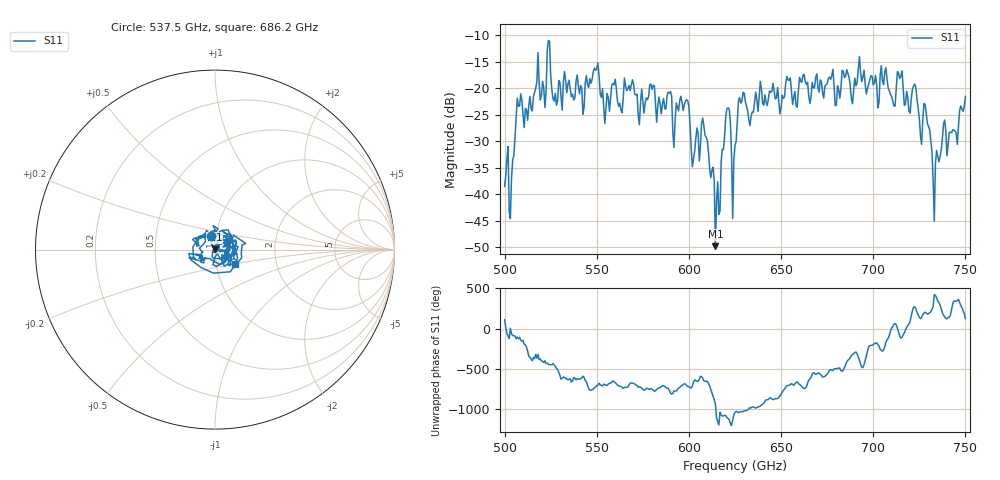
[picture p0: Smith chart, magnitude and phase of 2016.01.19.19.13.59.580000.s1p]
!Created with skrf (http://scikit-rf.org).
# GHz S RI R 50.0
!freq ReS11 ImS11
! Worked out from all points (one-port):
!   401 points, 500 GHz to 750 GHz, reference 50 ohm
!   lowest |S11| = -49.8 dB at 614.4 GHz (marker M1), VSWR 1.01, Z = 49.8 + j0.228 ohm
!   |S11| at or under -10 dB: start of sweep to end of sweep
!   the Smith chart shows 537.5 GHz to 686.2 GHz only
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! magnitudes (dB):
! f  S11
! 500 GHz  -38.5
! 503.8 GHz  -36.9
! 508.1 GHz  -23.3
! 520.6 GHz  -18.7
! 524.4 GHz  -11.1
! 526.9 GHz  -22.4
! 531.2 GHz  -24.1
! 549.4 GHz  -16.6
! 553.8 GHz  -23.3
! 562.5 GHz  -22.8
! 593.8 GHz  -23.5
! 598.8 GHz  -22.2
! 602.5 GHz  -33.3
! 608.1 GHz  -27.1
! 614.4 GHz  -49.8
! 615.6 GHz  -37.6
! 621.2 GHz  -23.7
! 625 GHz  -30.7
! 628.8 GHz  -22.4
! 656.2 GHz  -23.0
! 687.5 GHz  -19.4
! 705.6 GHz  -19.3
! 710.6 GHz  -22.4
! 714.4 GHz  -18.1
! 718.8 GHz  -21.7
! 728.8 GHz  -24.7
! 733.8 GHz  -34.2
! 750 GHz  -21.6
